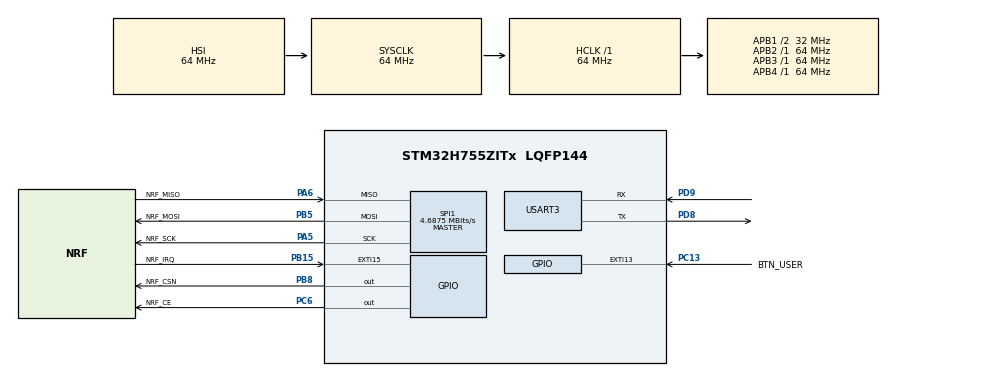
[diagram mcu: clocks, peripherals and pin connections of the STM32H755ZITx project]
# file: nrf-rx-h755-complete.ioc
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CortexM4.IPs=BDMA,CORTEX_M4\:I,DEBUG,DMA,FATFS_M4\:I,FREERTOS_M4\:I,GPIO,IWDG2\:I,MDMA,NVIC2\:I,OPENAMP_M4\:I,PDM2PCM_M4\:I,PWR,RCC,RESMGR_UTILITY,SYS_M4\:I,USB_DEVICE_M4\:I,USB_HOST_M4\:I,VREFBUF,WWDG2\:I
CortexM7.IPs=BDMA\:I,CORTEX_M7\:I,DEBUG\:I,DMA\:I,FATFS_M7\:I,FREERTOS_M7\:I,GPIO\:I,IWDG1\:I,MDMA\:I,NVIC1\:I,OPENAMP_M7\:I,PDM2PCM_M7\:I,PWR\:I,RCC\:I,RESMGR_UTILITY\:I,SYS\:I,USB_DEVICE_M7\:I,USB_HOST_M7\:I,VREFBUF\:I,WWDG1\:I,SPI1\:I,USART3\:I
CortexM7.Pins=PC13,PB15,PC6,PB8
Mcu.Family=STM32H7
Mcu.Name=STM32H755ZITx
Mcu.Package=LQFP144
NVIC1.EXTI15_10_IRQn=true\:0\:0\:false\:false\:true\:true\:true\:true
NVIC1.PriorityGroup=NVIC_PRIORITYGROUP_4
NVIC2.PriorityGroup=NVIC_PRIORITYGROUP_4
PA5.GPIO_Label=NRF_SCK
PA5.Mode=Full_Duplex_Master
PA5.PinAttribute=CortexM7
PA5.Signal=SPI1_SCK
PA6.GPIO_Label=NRF_MISO
PA6.Mode=Full_Duplex_Master
PA6.PinAttribute=CortexM7
PA6.Signal=SPI1_MISO
PB15.GPIO_Label=NRF_IRQ
PB15.GPIO_ModeDefaultEXTI=GPIO_MODE_IT_FALLING
PB15.PinAttribute=CortexM7
PB15.Signal=GPXTI15
PB5.GPIO_Label=NRF_MOSI
PB5.Mode=Full_Duplex_Master
PB5.PinAttribute=CortexM7
PB5.Signal=SPI1_MOSI
PB8.GPIO_Label=NRF_CSN
PB8.PinAttribute=CortexM7
PB8.Signal=GPIO_Output
PC13.GPIO_Label=BTN_USER
PC13.GPIO_ModeDefaultEXTI=GPIO_MODE_IT_RISING
PC13.PinAttribute=CortexM7
PC13.Signal=GPXTI13
PC6.GPIO_Label=NRF_CE
PC6.PinAttribute=CortexM7
PC6.Signal=GPIO_Output
PD8.Mode=Asynchronous
PD8.PinAttribute=CortexM7
PD8.Signal=USART3_TX
PD9.Mode=Asynchronous
PD9.PinAttribute=CortexM7
PD9.Signal=USART3_RX
ProjectManager.HeapSize=M4-0x200,M7-0x200
ProjectManager.StackSize=M4-0x400,M7-0x400
ProjectManager.TargetToolchain=STM32CubeIDE
RCC.ADCFreq_Value=129000000
RCC.APB1Freq_Value=32000000
RCC.APB2Freq_Value=64000000
RCC.APB3Freq_Value=64000000
RCC.APB4Freq_Value=64000000
RCC.CortexFreq_Value=64000000
RCC.D2PPRE1=RCC_APB1_DIV2
RCC.DIVM1=4
RCC.DIVN1=9
RCC.HCLKFreq_Value=64000000
RCC.PLLFRACN=3072
RCC.SYSCLKFreq_VALUE=64000000
RCC.USBFreq_Value=75000000
SPI1.BaudRatePrescaler=SPI_BAUDRATEPRESCALER_16
SPI1.CalculateBaudRate=4.6875 MBits/s
SPI1.DataSize=SPI_DATASIZE_8BIT
SPI1.Direction=SPI_DIRECTION_2LINES
SPI1.Mode=SPI_MODE_MASTER
SPI1.VirtualType=VM_MASTER
USART3.VirtualMode-Asynchronous=VM_ASYNC
board=custom

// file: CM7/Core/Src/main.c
/* USER CODE BEGIN Header */
/**
  ******************************************************************************
  * @file           : main.c
  * @brief          : Main program body
  ******************************************************************************
  * @attention
  *
  * Copyright (c) 2023 STMicroelectronics.
  * All rights reserved.
  *
  * This software is licensed under terms that can be found in the LICENSE file
  * in the root directory of this software component.
  * If no LICENSE file comes with this software, it is provided AS-IS.
  *
  ******************************************************************************
  */
/* USER CODE END Header */
#include "main.h"

/* USER CODE BEGIN Includes */
#include <stdio.h>
#include "nrf24l01.h"
/* USER CODE END Includes */

/* USER CODE BEGIN PD */

#ifndef HSEM_ID_0
#define HSEM_ID_0 (0U) /* HW semaphore 0*/
#endif

/* USER CODE END PD */

SPI_HandleTypeDef hspi1;

UART_HandleTypeDef huart3;

void SystemClock_Config(void);
static void MX_GPIO_Init(void);
static void MX_SPI1_Init(void);
static void MX_USART3_UART_Init(void);

/* USER CODE BEGIN 0 */

/**************************************
 *           EXAMPLE CODE BEGIN
 **************************************/

// BEGIN REDIRECT
// This is used to redirect printf to UART
#ifdef __GNUC__
#define PUTCHAR_PROTOTYPE int __io_putchar(int ch)
#else
#define PUTCHAR_PROTOTYPE int fputc(int ch, FILE *f)
#endif

PUTCHAR_PROTOTYPE
{
  HAL_UART_Transmit(&huart3, (uint8_t *)&ch, 1, HAL_MAX_DELAY);
  return ch;
}
// END REDIRECT

/* Variables */

// The address for pipe 0 and 1 can contain 40 bits,
// but pipes 2-5 use bytes 39:8 of pipe 1 and only define
// the lower eight bits manually.
uint8_t addresses[6][5] = {
  {0x00,0x10,0x20,0x30,0x40},
  {0x40,0x30,0x20,0x10,0x00},
  {0x57},
  {0x96},
  {0x13},
  {0x37},
};

// Used to send ACK package payloads from different pipes.
uint8_t pipe = 0;
uint8_t count = 0;

/* Functions */
void readData(uint8_t pipe);

// Runs the example.
void runExample() {
  printf("\r\nStarting up complete RX H7...\r\n");

  // Initialise the library and make the device enter standby-I mode.
  if(NRF_Init(&hspi1, NRF_CSN_GPIO_Port, NRF_CSN_Pin, NRF_CE_GPIO_Port, NRF_CE_Pin) != NRF_OK) {
    printf("Couldn't initialise device, are pins correctly connected?\r\n");
    Error_Handler();
  }

  // Resets all registers and FIFOs but keeps the device in standby-I mode.
  NRF_Reset();

  // Set the RF channel frequency, it's defined as: 2400 + NRF_REG_RF_CH [MHz]
  NRF_WriteRegisterByte(NRF_REG_RF_CH, 0x0F);

  // Setup addresses to all pipes (P0-P5)
  NRF_WriteRegister(NRF_REG_RX_ADDR_P0, addresses[0], 5);
  NRF_WriteRegister(NRF_REG_RX_ADDR_P1, addresses[1], 5);
  NRF_WriteRegister(NRF_REG_RX_ADDR_P2, addresses[2], 1);
  NRF_WriteRegister(NRF_REG_RX_ADDR_P3, addresses[3], 1);
  NRF_WriteRegister(NRF_REG_RX_ADDR_P4, addresses[4], 1);
  NRF_WriteRegister(NRF_REG_RX_ADDR_P5, addresses[5], 1);

  // Enable all pipes (so we can receive on them all)
  NRF_WriteRegisterByte(NRF_REG_EN_RXADDR, 0x3F);

  /* To enable ACK payloads we need to setup dynamic payload length. */

  // Enables us to send custom payload with ACKs.
  NRF_SetRegisterBit(NRF_REG_FEATURE, 1);

  // Enables dynamic payload length generally.
  NRF_SetRegisterBit(NRF_REG_FEATURE, 2);

  // Enable dynamic payload lengths on all data pipes.
  // If we didn't do this we'd have to set the payload width
  // that we were going to use for all pipes.
  NRF_WriteRegisterByte(NRF_REG_DYNPD, 0x3F);

  // Enter RX mode and wait for packets.
  // When we get a package NRF_IRQ will be set low,
  // which we handle in the interrupt callback below.
  NRF_EnterMode(NRF_MODE_RX);
  printf("Entered RX mode...\r\n");

  for (;;) {
    // wait forever
  }
}

// Interrupt handler
void HAL_GPIO_EXTI_Callback(uint16_t GPIO_Pin) {
  switch(GPIO_Pin) {
    case BTN_USER_Pin:
      // User button was pressed, just print info.
      NRF_PrintFIFOStatus();
      NRF_PrintStatus();
      break;
    case NRF_IRQ_Pin:
      {
        // NRF_IRQ was pulled, check whether the status
        // register is saying we've received a package.
        uint8_t status = NRF_ReadStatus();
        if (status & 0x40) {
          // RX_DR is set in register (Data Ready RX FIFO interrupt bit)

          // Read what pipe received this package.
          uint8_t pipe = (status & 0x0E) >> 1;
          readData(pipe);
        }
      }
      break;
    default:
      printf("Unhandled interrupt...\r\n");
      break;
  }
}

// Handle the package
void readData(uint8_t pipe) {
  uint8_t special[19] = "user button pressed";

  // Since we have dynamic payload width we'll have to
  // check what the length of the last received package is (which
  // we're currently handling).
  uint8_t length = 0x00;
  NRF_SendReadCommand(NRF_CMD_R_RX_PL_WID, &length, 1);

  // Once we have the length we can read the payload.
  uint8_t payload[length];
  NRF_ReadPayload(payload, length);

  // Print the payload.
  printf("Payload of length %i from pipe %i: ", length, pipe);
  for (int i = 0; i < length; i++) {
    printf("%c", payload[i]);
  }
  printf("\r\n");

  // If we've received three packages we'll send something back
  // the next time this pipe sends an ACK.
  if (count == 3) {
    uint8_t msg[18] = "Hello from pipe ";
    msg[17] = '0' + pipe;

    // Note: The ACK payload can have variable length.
    NRF_WriteAckPayload(pipe, msg, 18);

    count = 0;
    pipe++;
    pipe %= 6;
  } else {
    count++;
  }

  // If the length of the received package is 19 we could have
  // received a special message (which is sent from transmitter
  // when user button is pressed).
  if (length == 19) {
    for (int i = 0; i < 19; i++) {
      if(special[i] != payload[i]){
        break;
      } else if (i == 18) {
        printf("User button pressed on H7...\r\n");
      }
    }
  }

  // Reset the RX_DR bit so we can receive
  // new packages.
  NRF_SetRegisterBit(NRF_REG_STATUS, 6);
}

/**************************************
 *           EXAMPLE CODE END
 **************************************/

/* USER CODE END 0 */

int main(void)
{
/* USER CODE BEGIN Boot_Mode_Sequence_0 */
  int32_t timeout;
/* USER CODE END Boot_Mode_Sequence_0 */

/* USER CODE BEGIN Boot_Mode_Sequence_1 */
  /* Wait until CPU2 boots and enters in stop mode or timeout*/
  /*timeout = 0xFFFF;
  while((__HAL_RCC_GET_FLAG(RCC_FLAG_D2CKRDY) != RESET) && (timeout-- > 0));
  if ( timeout < 0 )
  {
  Error_Handler();
  }*/
/* USER CODE END Boot_Mode_Sequence_1 */
  /* MCU Configuration--------------------------------------------------------*/

  /* Reset of all peripherals, Initializes the Flash interface and the Systick. */
  HAL_Init();

  /* Configure the system clock */
  SystemClock_Config();
/* USER CODE BEGIN Boot_Mode_Sequence_2 */
/* When system initialization is finished, Cortex-M7 will release Cortex-M4 by means of
HSEM notification */
/*HW semaphore Clock enable*/
__HAL_RCC_HSEM_CLK_ENABLE();
/*Take HSEM */
HAL_HSEM_FastTake(HSEM_ID_0);
/*Release HSEM in order to notify the CPU2(CM4)*/
HAL_HSEM_Release(HSEM_ID_0,0);
/* wait until CPU2 wakes up from stop mode */
timeout = 0xFFFF;
while((__HAL_RCC_GET_FLAG(RCC_FLAG_D2CKRDY) == RESET) && (timeout-- > 0));
if ( timeout < 0 )
{
Error_Handler();
}
/* USER CODE END Boot_Mode_Sequence_2 */

  /* Initialize all configured peripherals */
  MX_GPIO_Init();
  MX_SPI1_Init();
  MX_USART3_UART_Init();
  /* USER CODE BEGIN 2 */
  runExample();
  /* USER CODE END 2 */

  /* Infinite loop */
  while (1)
  {

  }
}

void SystemClock_Config(void)
{
  RCC_OscInitTypeDef RCC_OscInitStruct = {0};
  RCC_ClkInitTypeDef RCC_ClkInitStruct = {0};

  /** Supply configuration update enable
  */
  HAL_PWREx_ConfigSupply(PWR_DIRECT_SMPS_SUPPLY);

  /** Configure the main internal regulator output voltage
  */
  __HAL_PWR_VOLTAGESCALING_CONFIG(PWR_REGULATOR_VOLTAGE_SCALE3);

  while(!__HAL_PWR_GET_FLAG(PWR_FLAG_VOSRDY)) {}

  /** Initializes the RCC Oscillators according to the specified parameters
  * in the RCC_OscInitTypeDef structure.
  */
  RCC_OscInitStruct.OscillatorType = RCC_OSCILLATORTYPE_HSI;
  RCC_OscInitStruct.HSIState = RCC_HSI_DIV1;
  RCC_OscInitStruct.HSICalibrationValue = RCC_HSICALIBRATION_DEFAULT;
  RCC_OscInitStruct.PLL.PLLState = RCC_PLL_ON;
  RCC_OscInitStruct.PLL.PLLSource = RCC_PLLSOURCE_HSI;
  RCC_OscInitStruct.PLL.PLLM = 4;
  RCC_OscInitStruct.PLL.PLLN = 9;
  RCC_OscInitStruct.PLL.PLLP = 2;
  RCC_OscInitStruct.PLL.PLLQ = 2;
  RCC_OscInitStruct.PLL.PLLR = 2;
  RCC_OscInitStruct.PLL.PLLRGE = RCC_PLL1VCIRANGE_3;
  RCC_OscInitStruct.PLL.PLLVCOSEL = RCC_PLL1VCOMEDIUM;
  RCC_OscInitStruct.PLL.PLLFRACN = 3072;
  if (HAL_RCC_OscConfig(&RCC_OscInitStruct) != HAL_OK)
  {
    Error_Handler();
  }

  /** Initializes the CPU, AHB and APB buses clocks
  */
  RCC_ClkInitStruct.ClockType = RCC_CLOCKTYPE_HCLK|RCC_CLOCKTYPE_SYSCLK
                              |RCC_CLOCKTYPE_PCLK1|RCC_CLOCKTYPE_PCLK2
                              |RCC_CLOCKTYPE_D3PCLK1|RCC_CLOCKTYPE_D1PCLK1;
  RCC_ClkInitStruct.SYSCLKSource = RCC_SYSCLKSOURCE_HSI;
  RCC_ClkInitStruct.SYSCLKDivider = RCC_SYSCLK_DIV1;
  RCC_ClkInitStruct.AHBCLKDivider = RCC_HCLK_DIV1;
  RCC_ClkInitStruct.APB3CLKDivider = RCC_APB3_DIV1;
  RCC_ClkInitStruct.APB1CLKDivider = RCC_APB1_DIV2;
  RCC_ClkInitStruct.APB2CLKDivider = RCC_APB2_DIV1;
  RCC_ClkInitStruct.APB4CLKDivider = RCC_APB4_DIV1;

  if (HAL_RCC_ClockConfig(&RCC_ClkInitStruct, FLASH_LATENCY_1) != HAL_OK)
  {
    Error_Handler();
  }
}

static void MX_SPI1_Init(void)
{

  /* SPI1 parameter configuration*/
  hspi1.Instance = SPI1;
  hspi1.Init.Mode = SPI_MODE_MASTER;
  hspi1.Init.Direction = SPI_DIRECTION_2LINES;
  hspi1.Init.DataSize = SPI_DATASIZE_8BIT;
  hspi1.Init.CLKPolarity = SPI_POLARITY_LOW;
  hspi1.Init.CLKPhase = SPI_PHASE_1EDGE;
  hspi1.Init.NSS = SPI_NSS_SOFT;
  hspi1.Init.BaudRatePrescaler = SPI_BAUDRATEPRESCALER_16;
  hspi1.Init.FirstBit = SPI_FIRSTBIT_MSB;
  hspi1.Init.TIMode = SPI_TIMODE_DISABLE;
  hspi1.Init.CRCCalculation = SPI_CRCCALCULATION_DISABLE;
  hspi1.Init.CRCPolynomial = 0x0;
  hspi1.Init.NSSPMode = SPI_NSS_PULSE_ENABLE;
  hspi1.Init.NSSPolarity = SPI_NSS_POLARITY_LOW;
  hspi1.Init.FifoThreshold = SPI_FIFO_THRESHOLD_01DATA;
  hspi1.Init.TxCRCInitializationPattern = SPI_CRC_INITIALIZATION_ALL_ZERO_PATTERN;
  hspi1.Init.RxCRCInitializationPattern = SPI_CRC_INITIALIZATION_ALL_ZERO_PATTERN;
  hspi1.Init.MasterSSIdleness = SPI_MASTER_SS_IDLENESS_00CYCLE;
  hspi1.Init.MasterInterDataIdleness = SPI_MASTER_INTERDATA_IDLENESS_00CYCLE;
  hspi1.Init.MasterReceiverAutoSusp = SPI_MASTER_RX_AUTOSUSP_DISABLE;
  hspi1.Init.MasterKeepIOState = SPI_MASTER_KEEP_IO_STATE_DISABLE;
  hspi1.Init.IOSwap = SPI_IO_SWAP_DISABLE;
  if (HAL_SPI_Init(&hspi1) != HAL_OK)
  {
    Error_Handler();
  }

}

static void MX_USART3_UART_Init(void)
{

  huart3.Instance = USART3;
  huart3.Init.BaudRate = 115200;
  huart3.Init.WordLength = UART_WORDLENGTH_8B;
  huart3.Init.StopBits = UART_STOPBITS_1;
  huart3.Init.Parity = UART_PARITY_NONE;
  huart3.Init.Mode = UART_MODE_TX_RX;
  huart3.Init.HwFlowCtl = UART_HWCONTROL_NONE;
  huart3.Init.OverSampling = UART_OVERSAMPLING_16;
  huart3.Init.OneBitSampling = UART_ONE_BIT_SAMPLE_DISABLE;
  huart3.Init.ClockPrescaler = UART_PRESCALER_DIV1;
  huart3.AdvancedInit.AdvFeatureInit = UART_ADVFEATURE_NO_INIT;
  if (HAL_UART_Init(&huart3) != HAL_OK)
  {
    Error_Handler();
  }
  if (HAL_UARTEx_SetTxFifoThreshold(&huart3, UART_TXFIFO_THRESHOLD_1_8) != HAL_OK)
  {
    Error_Handler();
  }
  if (HAL_UARTEx_SetRxFifoThreshold(&huart3, UART_RXFIFO_THRESHOLD_1_8) != HAL_OK)
  {
    Error_Handler();
  }
  if (HAL_UARTEx_DisableFifoMode(&huart3) != HAL_OK)
  {
    Error_Handler();
  }

}

static void MX_GPIO_Init(void)
{
  GPIO_InitTypeDef GPIO_InitStruct = {0};

  /* GPIO Ports Clock Enable */
  __HAL_RCC_GPIOC_CLK_ENABLE();
  __HAL_RCC_GPIOA_CLK_ENABLE();
  __HAL_RCC_GPIOB_CLK_ENABLE();
  __HAL_RCC_GPIOD_CLK_ENABLE();

  /*Configure GPIO pin Output Level */
  HAL_GPIO_WritePin(NRF_CE_GPIO_Port, NRF_CE_Pin, GPIO_PIN_RESET);

  /*Configure GPIO pin Output Level */
  HAL_GPIO_WritePin(NRF_CSN_GPIO_Port, NRF_CSN_Pin, GPIO_PIN_RESET);

  /*Configure GPIO pin : BTN_USER_Pin */
  GPIO_InitStruct.Pin = BTN_USER_Pin;
  GPIO_InitStruct.Mode = GPIO_MODE_IT_RISING;
  GPIO_InitStruct.Pull = GPIO_NOPULL;
  HAL_GPIO_Init(BTN_USER_GPIO_Port, &GPIO_InitStruct);

  /*Configure GPIO pin : NRF_IRQ_Pin */
  GPIO_InitStruct.Pin = NRF_IRQ_Pin;
  GPIO_InitStruct.Mode = GPIO_MODE_IT_FALLING;
  GPIO_InitStruct.Pull = GPIO_NOPULL;
  HAL_GPIO_Init(NRF_IRQ_GPIO_Port, &GPIO_InitStruct);

  /*Configure GPIO pin : NRF_CE_Pin */
  GPIO_InitStruct.Pin = NRF_CE_Pin;
  GPIO_InitStruct.Mode = GPIO_MODE_OUTPUT_PP;
  GPIO_InitStruct.Pull = GPIO_NOPULL;
  GPIO_InitStruct.Speed = GPIO_SPEED_FREQ_LOW;
  HAL_GPIO_Init(NRF_CE_GPIO_Port, &GPIO_InitStruct);

  /*Configure GPIO pin : NRF_CSN_Pin */
  GPIO_InitStruct.Pin = NRF_CSN_Pin;
  GPIO_InitStruct.Mode = GPIO_MODE_OUTPUT_PP;
  GPIO_InitStruct.Pull = GPIO_NOPULL;
  GPIO_InitStruct.Speed = GPIO_SPEED_FREQ_LOW;
  HAL_GPIO_Init(NRF_CSN_GPIO_Port, &GPIO_InitStruct);

  /* EXTI interrupt init*/
  HAL_NVIC_SetPriority(EXTI15_10_IRQn, 0, 0);
  HAL_NVIC_EnableIRQ(EXTI15_10_IRQn);

}

void Error_Handler(void)
{
  __disable_irq();
  while (1)
  {
  }
}
